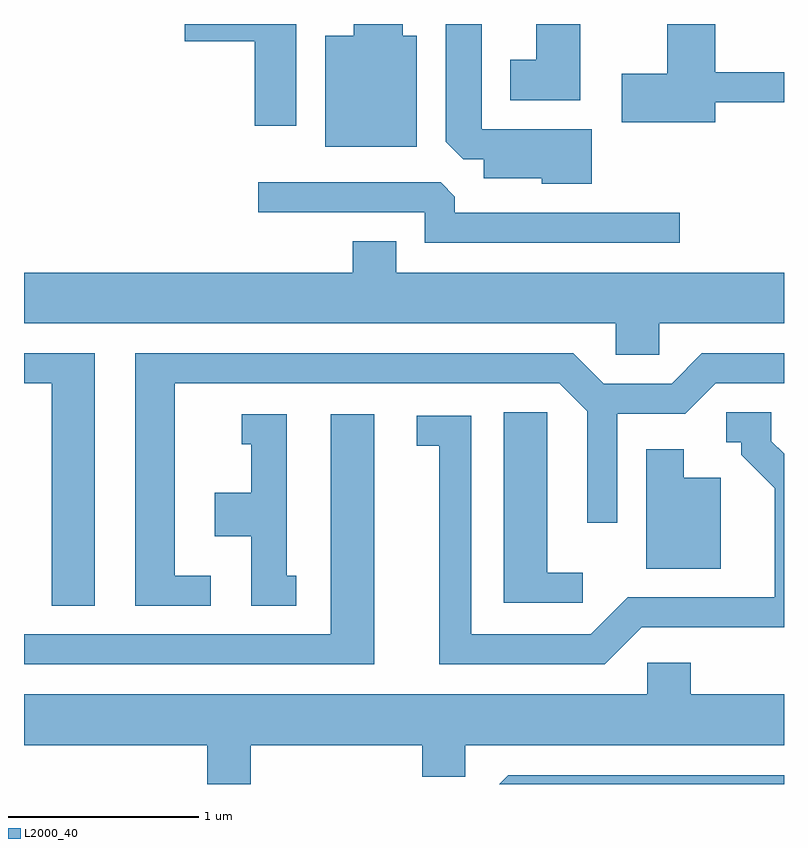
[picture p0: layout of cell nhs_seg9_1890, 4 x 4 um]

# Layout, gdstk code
import gdstk
lib = gdstk.Library(unit=1e-6, precision=1e-09)
def P(c, l, *ps):  # polygons
    for p in ps: c.add(gdstk.Polygon(p, *l))
L2000_40 = (2000, 40)

nhs_seg9_1890 = lib.new_cell('nhs_seg9_1890')
P(nhs_seg9_1890, L2000_40, [(241.679,2064.369),(241.604,2064.369),(241.604,2064.432),(241.346,2064.432),(241.346,2064.369),(241.196,2064.369),(241.196,2063.786),(241.679,2063.786)],
  [(241.044,2064.432),(240.456,2064.432),(240.456,2064.341),(240.826,2064.341),(240.826,2063.896),(241.044,2063.896)],
  [(243.249,2064.021),(243.611,2064.021),(243.611,2064.179),(243.249,2064.179),(243.249,2064.432),(242.996,2064.432),(242.996,2064.169),(242.756,2064.169),(242.756,2063.916),(243.249,2063.916)],
  [(242.599,2063.879),(242.019,2063.879),(242.019,2064.432),(241.831,2064.432),(241.831,2063.812),(241.922,2063.721),(242.031,2063.721),(242.031,2063.621),(242.336,2063.621),(242.336,2063.591),(242.599,2063.591)],
  [(242.539,2064.432),(242.306,2064.432),(242.306,2064.244),(242.171,2064.244),(242.171,2064.031),(242.539,2064.031)],
  [(243.063,2063.439),(241.879,2063.439),(241.879,2063.524),(241.804,2063.599),(240.843,2063.599),(240.843,2063.441),(241.721,2063.441),(241.721,2063.281),(243.063,2063.281)],
  [(242.954,2062.856),(243.611,2062.856),(243.611,2063.124),(241.569,2063.124),(241.569,2063.289),(241.341,2063.289),(241.341,2063.124),(239.611,2063.124),(239.611,2062.856),(242.726,2062.856),(242.726,2062.691),(242.954,2062.691)],
  [(240.593,2061.529),(240.404,2061.529),(240.404,2062.541),(242.429,2062.541),(242.576,2062.394),(242.576,2061.808),(242.734,2061.808),(242.734,2062.381),(243.092,2062.381),(243.252,2062.541),(243.611,2062.541),(243.611,2062.699),(243.179,2062.699),(243.019,2062.539),(242.662,2062.539),(242.502,2062.699),(240.196,2062.699),(240.196,2061.371),(240.593,2061.371)],
  [(239.984,2062.699),(239.611,2062.699),(239.611,2062.541),(239.756,2062.541),(239.756,2061.371),(239.984,2061.371)],
  [(242.553,2061.544),(242.364,2061.544),(242.364,2062.389),(242.136,2062.389),(242.136,2061.386),(242.553,2061.386)],
  [(242.862,2061.256),(243.611,2061.256),(243.611,2062.17),(243.544,2062.237),(243.544,2062.389),(243.308,2062.389),(243.308,2062.231),(243.386,2062.231),(243.386,2062.164),(243.561,2061.989),(243.561,2061.414),(242.789,2061.414),(242.594,2061.219),(241.964,2061.219),(241.964,2062.369),(241.678,2062.369),(241.678,2062.211),(241.796,2062.211),(241.796,2061.061),(242.667,2061.061)],
  [(241.043,2061.529),(240.994,2061.529),(240.994,2062.379),(240.758,2062.379),(240.758,2062.221),(240.806,2062.221),(240.806,2061.964),(240.616,2061.964),(240.616,2061.736),(240.806,2061.736),(240.806,2061.371),(241.043,2061.371)],
  [(241.454,2062.379),(241.226,2062.379),(241.226,2061.219),(239.611,2061.219),(239.611,2061.061),(241.454,2061.061)],
  [(243.279,2062.044),(243.084,2062.044),(243.084,2062.194),(242.886,2062.194),(242.886,2061.566),(243.279,2061.566)],
  [(240.804,2060.636),(241.706,2060.636),(241.706,2060.471),(241.934,2060.471),(241.934,2060.636),(243.611,2060.636),(243.611,2060.904),(243.119,2060.904),(243.119,2061.069),(242.891,2061.069),(242.891,2060.904),(239.611,2060.904),(239.611,2060.636),(240.576,2060.636),(240.576,2060.432),(240.804,2060.432)],
  [(243.611,2060.479),(242.159,2060.479),(242.112,2060.432),(243.611,2060.432)])

lib.write_gds('nhs_seg9_1890.gds')
